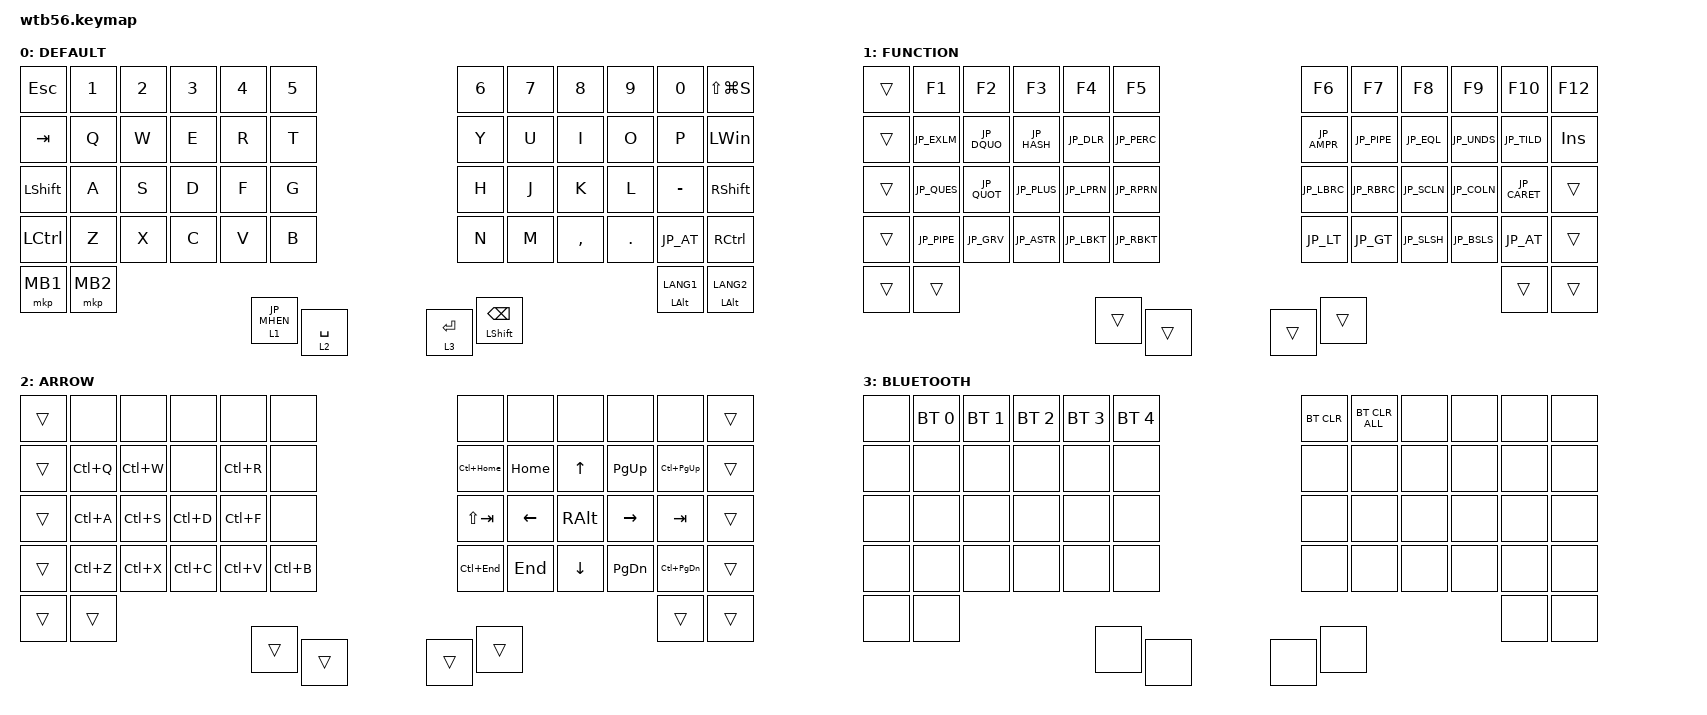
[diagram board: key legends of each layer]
#include <behaviors.dtsi>
#include <dt-bindings/zmk/bt.h>
#include <dt-bindings/zmk/keys.h>
#include <dt-bindings/zmk/pointing.h>
#include "locale/keys_ja.h"

/ {
    keymap {
        compatible = "zmk,keymap";

        DEFAULT {
            bindings = <
&kp ESC         &kp N1    &kp N2  &kp N3  &kp N4         &kp N5       &kp N6       &kp N7                    &kp N8     &kp N9   &kp N0          &kp LS(LG(S))
&kp TAB         &kp Q     &kp W   &kp E   &kp R          &kp T        &kp Y        &kp U                     &kp I      &kp O    &kp P           &kp LEFT_WIN
&kp LEFT_SHIFT  &kp A     &kp S   &kp D   &kp F          &kp G        &kp H        &kp J                     &kp K      &kp L    &kp MINUS       &kp RIGHT_SHIFT
&kp LCTRL       &kp Z     &kp X   &kp C   &kp V          &kp B        &kp N        &kp M                     &kp COMMA  &kp DOT  &kp JP_AT       &kp RCTRL
&mkp MB1        &mkp MB2                  &lt 1 JP_MHEN  &lt 2 SPACE  &lt 3 ENTER  &mt LEFT_SHIFT BACKSPACE                      &mt LALT LANG1  &mt LEFT_ALT LANG2
            >;
        };

        FUNCTION {
            bindings = <
&trans  &kp F1       &kp F2       &kp F3       &kp F4       &kp F5       &kp F6       &kp F7       &kp F8       &kp F9       &kp F10       &kp F12
&trans  &kp JP_EXLM  &kp JP_DQUO  &kp JP_HASH  &kp JP_DLR   &kp JP_PERC  &kp JP_AMPR  &kp JP_PIPE  &kp JP_EQL   &kp JP_UNDS  &kp JP_TILD   &kp INS
&trans  &kp JP_QUES  &kp JP_QUOT  &kp JP_PLUS  &kp JP_LPRN  &kp JP_RPRN  &kp JP_LBRC  &kp JP_RBRC  &kp JP_SCLN  &kp JP_COLN  &kp JP_CARET  &trans
&trans  &kp JP_PIPE  &kp JP_GRV   &kp JP_ASTR  &kp JP_LBKT  &kp JP_RBKT  &kp JP_LT    &kp JP_GT    &kp JP_SLSH  &kp JP_BSLS  &kp JP_AT     &trans
&trans  &trans                                 &trans       &trans       &trans       &trans                                 &trans        &trans
            >;
        };

        ARROW {
            bindings = <
&trans  &none      &none      &none      &none      &none      &none         &none           &none           &none          &none              &trans
&trans  &kp LC(Q)  &kp LC(W)  &none      &kp LC(R)  &none      &kp LC(HOME)  &kp HOME        &kp UP_ARROW    &kp PAGE_UP    &kp LC(PAGE_UP)    &trans
&trans  &kp LC(A)  &kp LC(S)  &kp LC(D)  &kp LC(F)  &none      &kp LS(TAB)   &kp LEFT_ARROW  &kp RIGHT_ALT   &kp RIGHT      &kp TAB            &trans
&trans  &kp LC(Z)  &kp LC(X)  &kp LC(C)  &kp LC(V)  &kp LC(B)  &kp LC(END)   &kp END         &kp DOWN_ARROW  &kp PAGE_DOWN  &kp LC(PAGE_DOWN)  &trans
&trans  &trans                           &trans     &trans     &trans        &trans                                         &trans             &trans
            >;
        };

        BLUETOOTH {
            bindings = <
&none  &bt BT_SEL 0  &bt BT_SEL 1  &bt BT_SEL 2  &bt BT_SEL 3  &bt BT_SEL 4  &bt BT_CLR  &bt BT_CLR_ALL  &none  &none  &none  &none
&none  &none         &none         &none         &none         &none         &none       &none           &none  &none  &none  &none
&none  &none         &none         &none         &none         &none         &none       &none           &none  &none  &none  &none
&none  &none         &none         &none         &none         &none         &none       &none           &none  &none  &none  &none
&none  &none                                     &none         &none         &none       &none                         &none  &none
            >;
        };
    };
};
